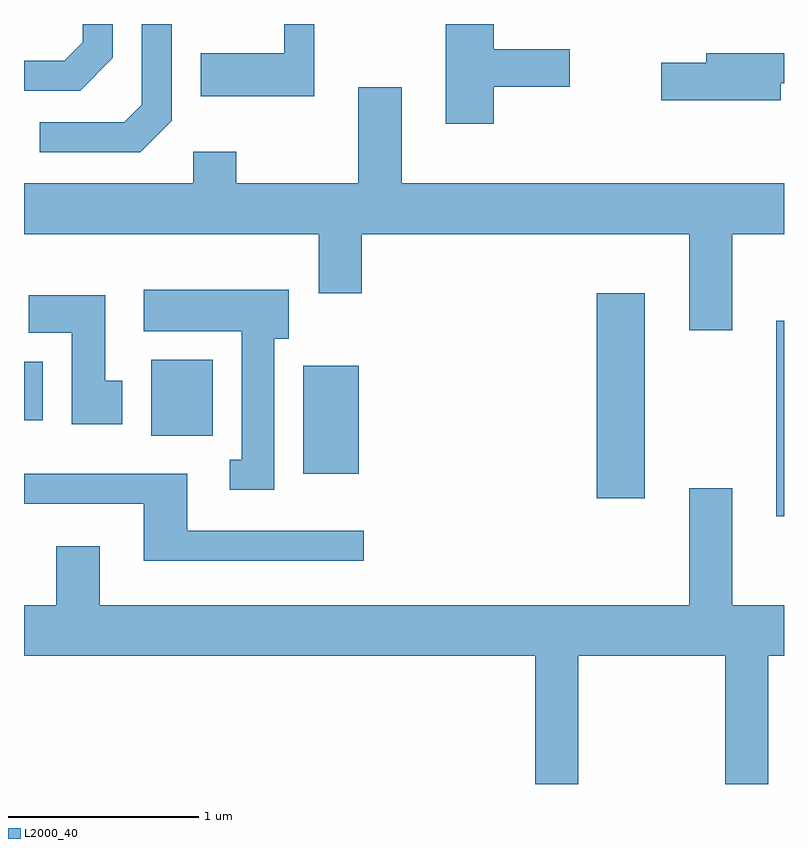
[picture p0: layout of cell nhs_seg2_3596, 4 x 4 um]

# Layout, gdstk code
import gdstk
lib = gdstk.Library(unit=1e-6, precision=1e-09)
def R(c, l, rs):  # rectangles x0, y0, x1, y1
    for r in rs: c.add(gdstk.rectangle(r[:2], r[2:], *l))
def P(c, l, *ps):  # polygons
    for p in ps: c.add(gdstk.Polygon(p, *l))
L2000_40 = (2000, 40)

nhs_seg2_3596 = lib.new_cell('nhs_seg2_3596')
R(nhs_seg2_3596, L2000_40, [(293.571,1111.211,293.611,1112.239), (292.626,1111.306,292.879,1112.384), (291.081,1111.436,291.374,1112.004), (290.281,1111.636,290.604,1112.034), (289.611,1111.716,289.709,1112.024)])
P(nhs_seg2_3596, L2000_40, [(291.139,1113.802),(290.981,1113.802),(290.981,1113.649),(290.541,1113.649),(290.541,1113.421),(291.139,1113.421)],
  [(290.389,1113.294),(290.389,1113.802),(290.231,1113.802),(290.231,1113.377),(290.139,1113.284),(289.693,1113.284),(289.693,1113.126),(290.222,1113.126)],
  [(290.079,1113.624),(290.079,1113.802),(289.921,1113.802),(289.921,1113.707),(289.824,1113.609),(289.611,1113.609),(289.611,1113.451),(289.907,1113.451)],
  [(292.084,1113.471),(292.484,1113.471),(292.484,1113.669),(292.084,1113.669),(292.084,1113.802),(291.831,1113.802),(291.831,1113.276),(292.084,1113.276)],
  [(293.594,1113.491),(293.611,1113.491),(293.611,1113.649),(293.201,1113.649),(293.201,1113.599),(292.966,1113.599),(292.966,1113.401),(293.594,1113.401)],
  [(293.339,1112.696),(293.611,1112.696),(293.611,1112.964),(291.599,1112.964),(291.599,1113.469),(291.371,1113.469),(291.371,1112.964),(290.729,1112.964),(290.729,1113.129),(290.501,1113.129),(290.501,1112.964),(289.611,1112.964),(289.611,1112.696),(291.161,1112.696),(291.161,1112.386),(291.389,1112.386),(291.389,1112.696),(293.111,1112.696),(293.111,1112.191),(293.339,1112.191)],
  [(290.929,1112.146),(291.004,1112.146),(291.004,1112.404),(290.241,1112.404),(290.241,1112.186),(290.756,1112.186),(290.756,1111.509),(290.693,1111.509),(290.693,1111.351),(290.929,1111.351)],
  [(290.129,1111.924),(290.039,1111.924),(290.039,1112.374),(289.636,1112.374),(289.636,1112.176),(289.861,1112.176),(289.861,1111.696),(290.129,1111.696)],
  [(291.398,1111.134),(290.469,1111.134),(290.469,1111.434),(289.611,1111.434),(289.611,1111.276),(290.241,1111.276),(290.241,1110.976),(291.398,1110.976)],
  [(292.529,1110.476),(293.301,1110.476),(293.301,1109.802),(293.529,1109.802),(293.529,1110.476),(293.611,1110.476),(293.611,1110.744),(293.339,1110.744),(293.339,1111.359),(293.111,1111.359),(293.111,1110.744),(290.009,1110.744),(290.009,1111.054),(289.781,1111.054),(289.781,1110.744),(289.611,1110.744),(289.611,1110.476),(292.301,1110.476),(292.301,1109.802),(292.529,1109.802)])

lib.write_gds('nhs_seg2_3596.gds')
